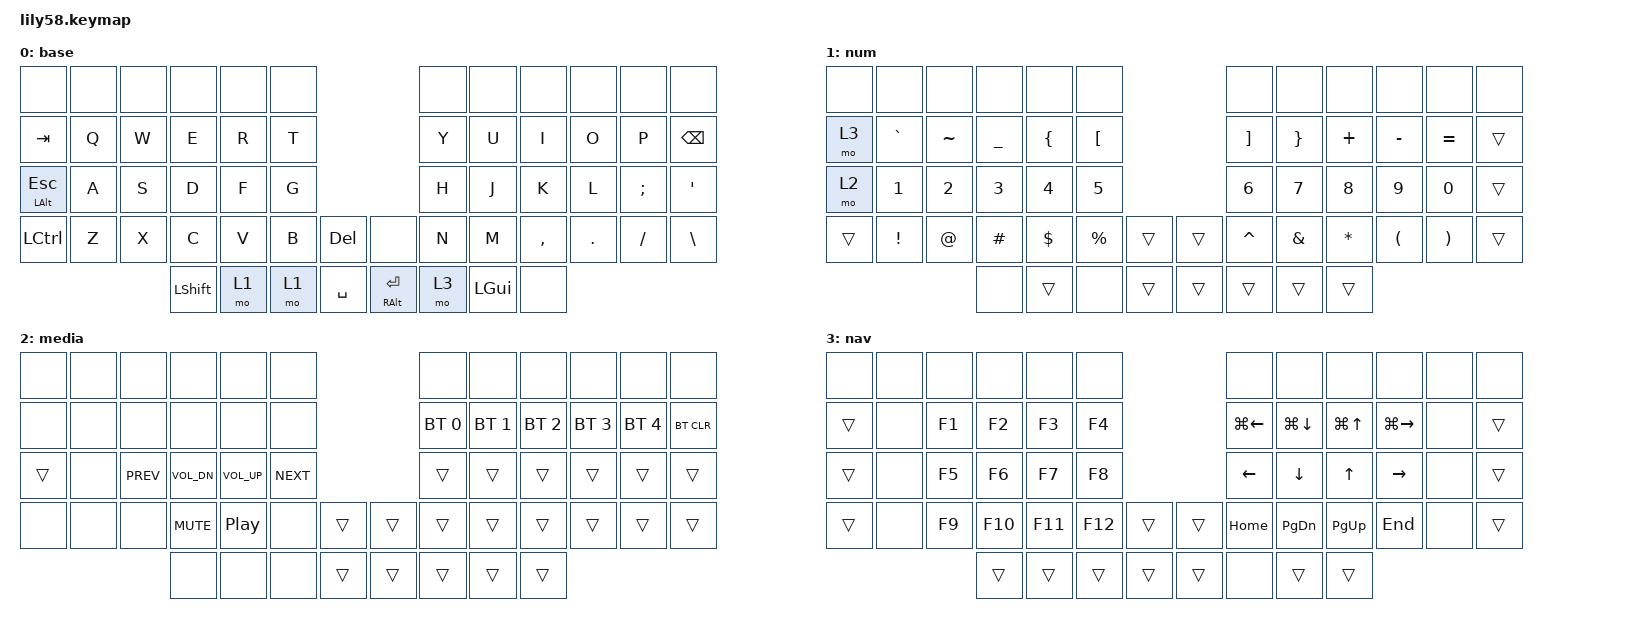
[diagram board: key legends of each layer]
/*
 * Copyright (c) 2020 The ZMK Contributors
 *
 * SPDX-License-Identifier: MIT
 */

#include <behaviors.dtsi>
#include <dt-bindings/zmk/bt.h>
#include <dt-bindings/zmk/keys.h>

&lt {
    flavor = "balanced";
    tapping-term-ms = <350>;
};

/ {
    combos {
        compatible = "zmk,combos";

        wr {
            bindings = <&kp E>;
            key-positions = <16 14>;
            layers = <0>;
        };

        sf {
            bindings = <&kp D>;
            key-positions = <26 28>;
            layers = <0>;
        };

        xv {
            bindings = <&kp C>;
            key-positions = <38 40>;
            layers = <0>;
        };

        wr2 {
            bindings = <&kp UNDERSCORE>;
            key-positions = <16 14>;
            layers = <1>;
        };

        sf2 {
            bindings = <&kp NUMBER_3>;
            key-positions = <26 28>;
            layers = <1>;
        };

        xv2 {
            bindings = <&kp HASH>;
            key-positions = <38 40>;
            layers = <1>;
        };

        sf-media {
            bindings = <&kp C_VOLUME_DOWN>;
            key-positions = <26 28>;
            layers = <2>;
        };

        xv-media {
            bindings = <&kp C_MUTE>;
            key-positions = <38 40>;
            layers = <1>;
        };
    };

    keymap {
        compatible = "zmk,keymap";

        base {
            display-name = "base";
            bindings = <
&none         &none  &none  &none       &none  &none                             &none  &none     &none      &none    &none     &none
&kp TAB       &kp Q  &kp W  &kp E       &kp R  &kp T                             &kp Y  &kp U     &kp I      &kp O    &kp P     &kp BACKSPACE
&mt LALT ESC  &kp A  &kp S  &kp D       &kp F  &kp G                             &kp H  &kp J     &kp K      &kp L    &kp SEMI  &kp SQT
&kp LCTRL     &kp Z  &kp X  &kp C       &kp V  &kp B  &kp DEL      &none         &kp N  &kp M     &kp COMMA  &kp DOT  &kp FSLH  &kp BACKSLASH
                            &kp LSHIFT  &mo 1  &mo 1  &kp SPACE    &mt RALT RET  &mo 3  &kp LGUI  &none
            >;
        };

        lower {
            display-name = "num";
            bindings = <
&none   &none      &none        &none      &none     &none                          &none      &none     &none      &none      &none      &none
&mo 3   &kp GRAVE  &kp TILDE    &kp UNDER  &kp LBRC  &kp LBKT                       &kp RBKT   &kp RBRC  &kp PLUS   &kp MINUS  &kp EQUAL  &trans
&mo 2   &kp N1     &kp N2       &kp N3     &kp N4    &kp N5                         &kp N6     &kp N7    &kp N8     &kp N9     &kp N0     &trans
&trans  &kp EXCL   &kp AT_SIGN  &kp HASH   &kp DLLR  &kp PERCENT  &trans    &trans  &kp CARET  &kp AMPS  &kp ASTRK  &kp LPAR   &kp RPAR   &trans
                                &none      &trans    &none        &trans    &trans  &trans     &trans    &trans
            >;
        };

        lowest {
            display-name = "media";
            bindings = <
&none   &none  &none       &none         &none         &none                         &none         &none         &none         &none         &none         &none
&none   &none  &none       &none         &none         &none                         &bt BT_SEL 0  &bt BT_SEL 1  &bt BT_SEL 2  &bt BT_SEL 3  &bt BT_SEL 4  &bt BT_CLR
&trans  &none  &kp C_PREV  &kp C_VOL_DN  &kp C_VOL_UP  &kp C_NEXT                    &trans        &trans        &trans        &trans        &trans        &trans
&none   &none  &none       &kp C_MUTE    &kp C_PP      &none       &trans    &trans  &trans        &trans        &trans        &trans        &trans        &trans
                           &none         &none         &none       &trans    &trans  &trans        &trans        &trans
            >;
        };

        higher {
            display-name = "nav";
            bindings = <
&none   &none  &none   &none    &none    &none                      &none         &none          &none       &none          &none  &none
&trans  &none  &kp F1  &kp F2   &kp F3   &kp F4                     &kp LG(LEFT)  &kp LG(DOWN)   &kp LG(UP)  &kp LG(RIGHT)  &none  &trans
&trans  &none  &kp F5  &kp F6   &kp F7   &kp F8                     &kp LEFT      &kp DOWN       &kp UP      &kp RIGHT      &none  &trans
&trans  &none  &kp F9  &kp F10  &kp F11  &kp F12  &trans    &trans  &kp HOME      &kp PAGE_DOWN  &kp PG_UP   &kp END        &none  &trans
                       &trans   &trans   &trans   &trans    &trans  &none         &trans         &trans
            >;
        };
    };

    conditional_layers { compatible = "zmk,conditional-layers"; };
};
